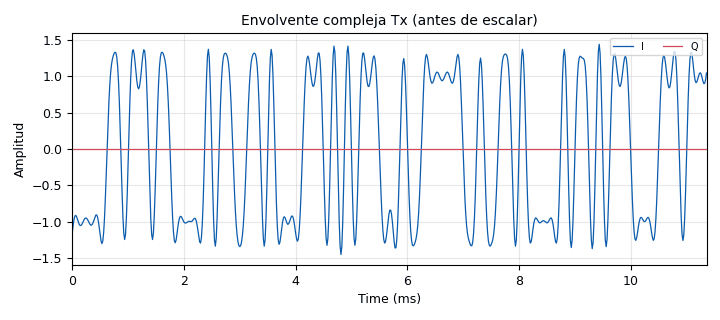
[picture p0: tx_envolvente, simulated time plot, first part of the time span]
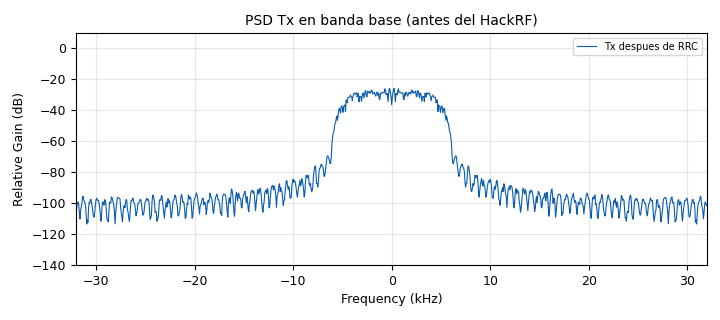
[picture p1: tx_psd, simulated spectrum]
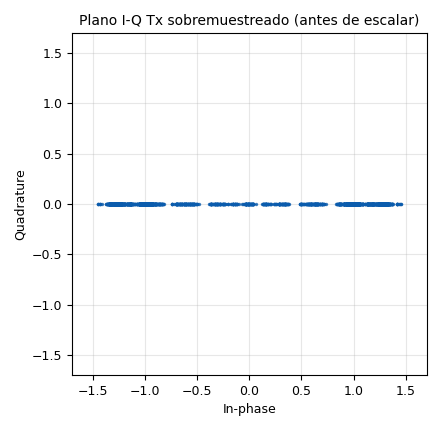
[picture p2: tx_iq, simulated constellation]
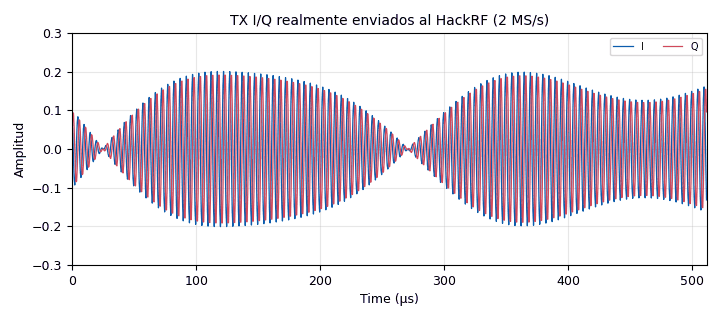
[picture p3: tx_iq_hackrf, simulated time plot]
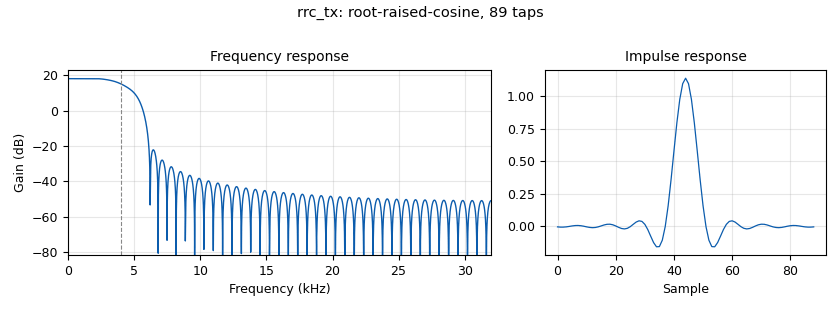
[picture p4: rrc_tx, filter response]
options:
  parameters:
    author: Luis Arley Martinez Caballero - Johan Sebastian Gomez Hernandez
    description: Transmisor BPSK con secuencia conocida PRBS-15. 64 kS/s -> 2 MS/s. Solo RF confinada o frecuencia autorizada.
    generate_options: qt_gui
    id: LAB_TX_BPSK_HackRF
    output_language: python
    title: LAB TX BPSK HackRF - PRBS-15 + RRC (8 kbaud, 2 MS/s)
  states: {}

blocks:
- name: Rs
  id: variable
  parameters:
    comment: 'Tasa de simbolos: 8 kbaud'
    value: '8000'
  states: {}
- name: Sps
  id: variable
  parameters:
    comment: Muestras por simbolo
    value: '8'
  states: {}
- name: samp_rate
  id: variable
  parameters:
    comment: bb_rate = 64 kS/s
    value: Rs*Sps
  states: {}
- name: tabla_bpsk
  id: variable
  parameters:
    comment: 'Mapeo del escenario S1: (-1+0j, 1+0j)'
    value: (-1+0j, 1+0j)
  states: {}
- name: M
  id: variable
  parameters:
    value: len(tabla_bpsk)
  states: {}
- name: bps
  id: variable
  parameters:
    value: int(math.log(M,2))
  states: {}
- name: Rb
  id: variable
  parameters:
    comment: 'BPSK: Rb = Rs = 8 kb/s'
    value: Rs*bps
  states: {}
- name: span
  id: variable
  parameters:
    comment: Duracion del pulso RRC en simbolos
    value: '11'
  states: {}
- name: fc
  id: variable
  parameters:
    comment: Frecuencia RF asignada (enlace confinado/autorizado)
    value: 960e6
  states: {}
- name: lo_off
  id: variable
  parameters:
    comment: LO del Tx en fc-200 kHz; la senal se desplaza +200 kHz digitalmente
    value: 200e3
  states: {}
- name: radio_rate
  id: variable
  parameters:
    comment: Tasa del HackRF (>= 2 MS/s)
    value: 2e6
  states: {}
- name: hackrf_tx
  id: variable
  parameters:
    comment: 'Si hay varios HackRF: "hackrf=<serial>"'
    value: '"hackrf=0"'
  states: {}
- name: prbs_seed
  id: variable
  parameters:
    comment: Semilla PRBS-15 (igual en Tx y Rx)
    value: '32767'
  states: {}
- name: rrc_tx_taps
  id: variable_rrc_filter_taps
  parameters:
    alpha: beta
    gain: Sps
    ntaps: span*Sps
    samp_rate: samp_rate
    sym_rate: Rs
  states: {}
- name: beta
  id: variable_qtgui_range
  parameters:
    label: Roll-off beta
    start: '0.1'
    step: '0.05'
    stop: '1.0'
    value: '0.5'
  states: {}
- name: tx_amp
  id: variable_qtgui_range
  parameters:
    label: Amplitud digital Tx (pico < 1)
    start: '0.01'
    step: '0.01'
    stop: '1.0'
    value: '0.15'
  states: {}
- name: tx_vga
  id: variable_qtgui_range
  parameters:
    label: Tx IF gain HackRF (0-47 dB)
    start: '0'
    step: '1'
    stop: '47'
    value: '20'
  states: {}
- name: noise_amp
  id: variable_qtgui_range
  parameters:
    label: Amplitud de ruido AWGN digital (0 = desactivado)
    start: '0'
    step: '0.001'
    stop: '0.2'
    value: '0'
  states: {}
- name: import_0
  id: import
  parameters:
    imports: import math
  states: {}
- name: tx_prbs
  id: epy_block
  parameters:
    comment: 'Bits Tx de referencia: PRBS-15 conocida (derivacion ANTES de la modulacion)'
    _source_code: |
      """
      e_PRBS15_Tx
      Fuente de bits de prueba CONOCIDA para el transmisor BPSK.

      Secuencia PRBS-15 (ITU-T O.150), polinomio x^15 + x^14 + 1,
      registro LFSR iniciado en 'seed' (por defecto todos unos, 0x7FFF).
      Periodo: 2^15 - 1 = 32767 bits.

      Salida 0 : bits 0/1 (byte), uno por simbolo BPSK (Rb = Rs).

      Por que PRBS y no Random Source:
          El Tx y el Rx se ejecutan en computadores distintos. Para calcular una
          BER valida, el receptor debe conocer exactamente la misma secuencia
          (Guia 4, "Tx y Rx en computadores diferentes"). Una PRBS es repetible,
          tiene densidad de unos ~1/2 y cualquier ventana de 15 bits o mas es unica
          dentro del periodo, lo que permite alinear la referencia por correlacion.

      La derivacion de la secuencia binaria ANTES de la modulacion (Guia 4, paso 6)
      es la salida de este bloque.
      """

      import numpy as np
      from gnuradio import gr


      def prbs15(seed=0x7FFF):
          """Devuelve un periodo completo (32767 bits) de la PRBS-15 x^15+x^14+1."""
          state = int(seed) & 0x7FFF
          if state == 0:
              state = 0x7FFF
          out = np.empty(32767, dtype=np.uint8)
          for i in range(32767):
              newbit = ((state >> 14) ^ (state >> 13)) & 1
              state = ((state << 1) | newbit) & 0x7FFF
              out[i] = newbit
          return out


      class blk(gr.sync_block):
          def __init__(self, seed=32767):
              gr.sync_block.__init__(
                  self,
                  name='e_PRBS15_Tx',
                  in_sig=None,
                  out_sig=[np.uint8]
              )
              self.seed = int(seed)
              self.seq = prbs15(self.seed)
              self.L = len(self.seq)
              self.pos = 0
              print('[TX] PRBS-15 x^15+x^14+1, periodo %d bits, seed=0x%04X'
                    % (self.L, self.seed))

          def work(self, input_items, output_items):
              out = output_items[0]
              n = len(out)
              if n <= 0:
                  return 0
              idx = (self.pos + np.arange(n, dtype=np.int64)) % self.L
              out[:] = self.seq[idx]
              self.pos = int((self.pos + n) % self.L)
              return n
    seed: prbs_seed
  states: {}
- name: mapeo_bpsk
  id: digital_chunks_to_symbols_xx
  parameters:
    comment: 'Mapeo BPSK: bit -> simbolo'
    dimension: '1'
    in_type: byte
    out_type: complex
    symbol_table: tabla_bpsk
  states: {}
- name: rrc_tx
  id: interp_fir_filter_xxx
  parameters:
    comment: Conformacion RRC + interpolacion x Sps
    interp: Sps
    taps: rrc_tx_taps
    type: ccf
  states: {}
- name: tx_escala
  id: blocks_multiply_const_vxx
  parameters:
    comment: 'Amplitud digital: picos < 1 para no saturar el DAC de 8 bits'
    const: tx_amp
    type: complex
  states: {}
- name: awgn_prueba
  id: analog_noise_source_x
  parameters:
    comment: Solo pruebas controladas. Para la curva BER dejar en 0 (el ruido lo pone e_EbN0_Sweep en el Rx)
    type: complex
    noise_type: analog.GR_GAUSSIAN
    amp: noise_amp
    seed: '0'
  states: {}
- name: sumar_awgn
  id: blocks_add_xx
  parameters:
    comment: senal TX mas AWGN DIGITAL
    type: complex
  states: {}
- name: tx_resampler
  id: rational_resampler_xxx
  parameters:
    comment: 'Adaptacion de tasa: 64 kS/s x 125/4 = 2 MS/s'
    decim: '4'
    interp: '125'
    type: ccc
  states: {}
- name: tx_desplaza
  id: freq_xlating_fir_filter_xxx
  parameters:
    center_freq: '-lo_off'
    comment: 'Desplaza la senal +200 kHz: con LO en fc-200 kHz queda centrada en fc'
    decim: '1'
    samp_rate: radio_rate
    taps: '[1]'
    type: ccc
  states: {}
- name: hackrf_sink
  id: osmosdr_sink
  parameters:
    args: hackrf_tx
    bb_gain0: '0'
    comment: 'HackRF Tx. RF amp (gain0) apagado. ATENCION: solo enlace confinado o frecuencia autorizada'
    freq0: fc - lo_off
    gain0: '0'
    if_gain0: tx_vga
    sample_rate: radio_rate
    sync: none
    type: fc32
  states: {}
- name: tx_envolvente
  id: qtgui_time_sink_x
  parameters:
    grid: 'True'
    label1: I
    label2: Q
    name: '"Envolvente compleja Tx (antes de escalar)"'
    size: '2048'
    srate: samp_rate
    type: complex
    ylabel: Amplitud
    ymax: '1.6'
    ymin: '-1.6'
  states: {}
- name: tx_psd
  id: qtgui_freq_sink_x
  parameters:
    average: '0.2'
    bw: samp_rate
    fc: '0'
    fftsize: '1024'
    grid: 'True'
    label1: Tx despues de RRC
    name: '"PSD Tx en banda base (antes del HackRF)"'
    type: complex
  states: {}
- name: tx_iq
  id: qtgui_const_sink_x
  parameters:
    grid: 'True'
    name: '"Plano I-Q Tx sobremuestreado (antes de escalar)"'
    size: '2048'
    type: complex
    xmax: '1.7'
    xmin: '-1.7'
    ymax: '1.7'
    ymin: '-1.7'
  states: {}
- name: tx_iq_hackrf
  id: qtgui_time_sink_x
  parameters:
    grid: 'True'
    label1: I
    label2: Q
    name: '"TX I/Q realmente enviados al HackRF (2 MS/s)"'
    size: '1024'
    srate: radio_rate
    type: complex
    ylabel: Amplitud
    ymax: '0.3'
    ymin: '-0.3'
  states: {}

connections:
- [tx_prbs, '0', mapeo_bpsk, '0']
- [mapeo_bpsk, '0', rrc_tx, '0']
- [rrc_tx, '0', tx_escala, '0']
- [tx_escala, '0', sumar_awgn, '0']
- [awgn_prueba, '0', sumar_awgn, '1']
- [sumar_awgn, '0', tx_resampler, '0']
- [tx_resampler, '0', tx_desplaza, '0']
- [tx_desplaza, '0', hackrf_sink, '0']
- [rrc_tx, '0', tx_envolvente, '0']
- [rrc_tx, '0', tx_psd, '0']
- [rrc_tx, '0', tx_iq, '0']
- [tx_desplaza, '0', tx_iq_hackrf, '0']

metadata:
  file_format: 1
  grc_version: 3.10.11.0
